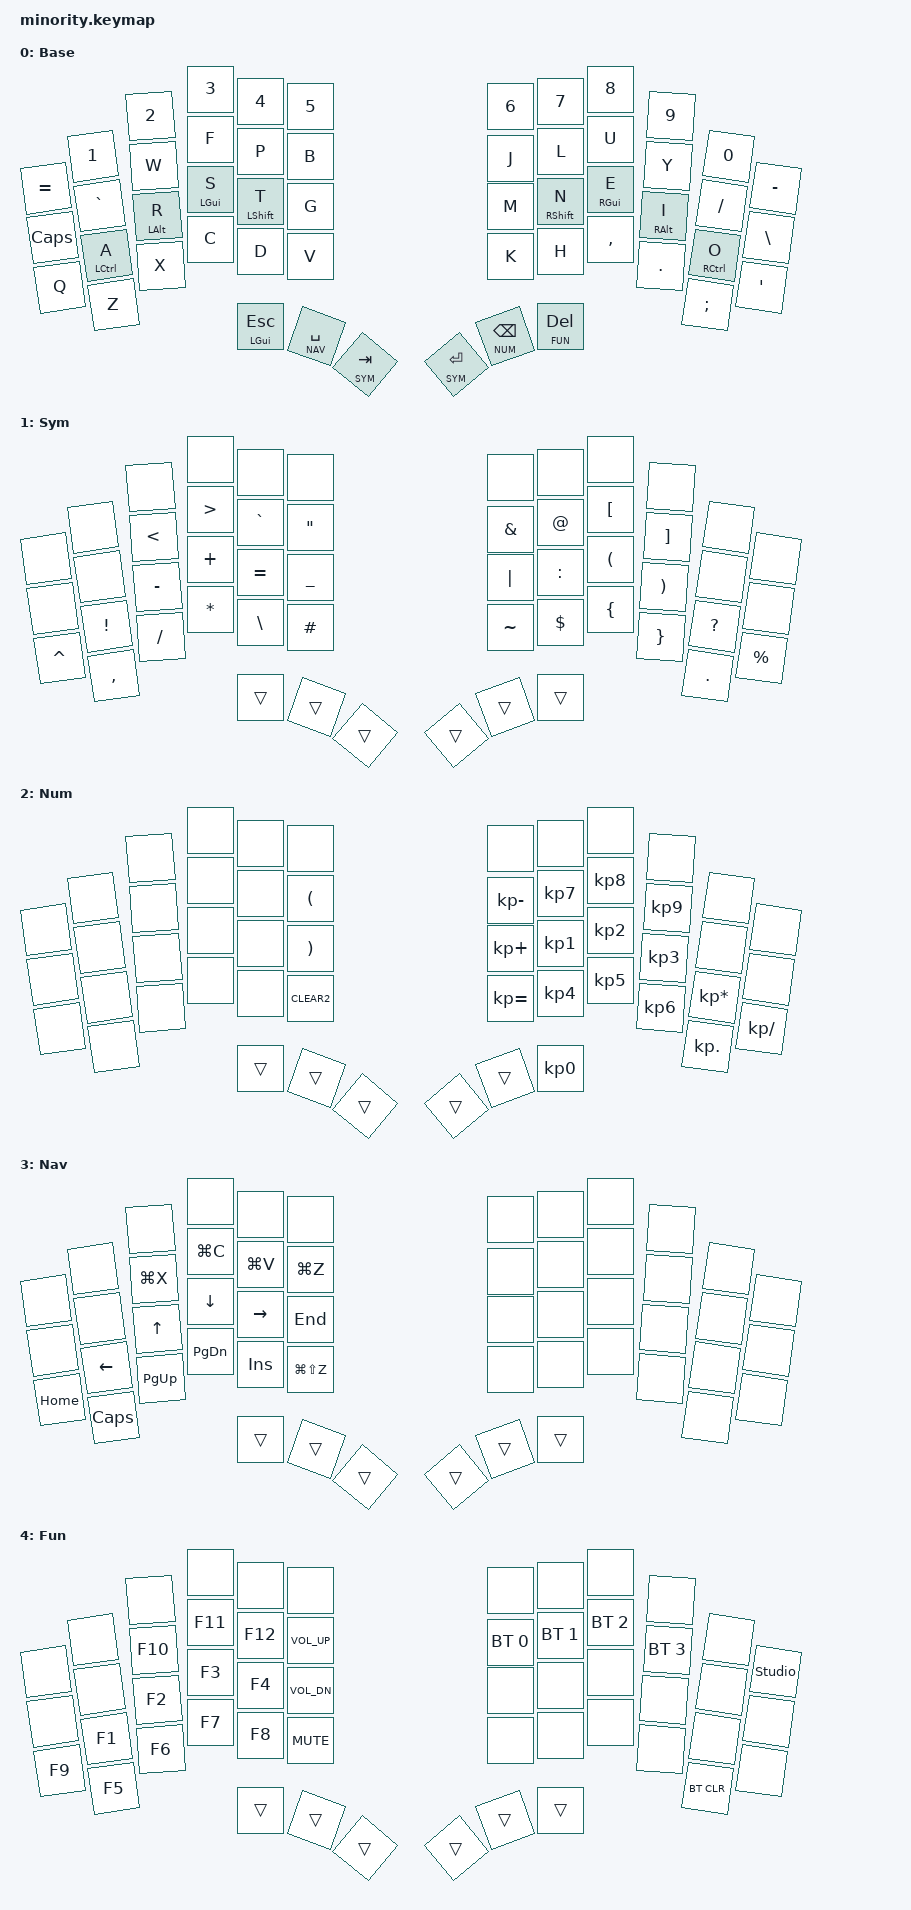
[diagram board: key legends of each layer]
// The Minority Keyboard
//

#include <behaviors.dtsi>
#include <dt-bindings/zmk/keys.h>
#include <dt-bindings/zmk/bt.h>
#include <dt-bindings/zmk/outputs.h>
#include <dt-bindings/zmk/mouse.h>

#define BASE 0
#define SYM  1
#define NUM  2
#define NAV  3
#define FUN  4

&mt {
  quick-tap-ms = <150>;
  flavor = "tap-preferred";
  tapping-term-ms = <200>;
};


&lt {
  quick-tap-ms = <150>;
  flavor = "tap-preferred";
  tapping-term-ms = <200>;
};

/ {
    combos {
        compatible = "zmk,combos";
        combo_esc {
            timeout-ms = <50>;
            key-positions = <0 1>;
            bindings = <&kp ESC>;
        };
    };

    keymap {
        compatible = "zmk,keymap";

        base_layer {
//////////////////////////////////////////////
            display-name = "Base";
//////////////////////////////////////////////
            bindings = <
// +-------------+-------------+-------------+-------------+-------------+-------------+                               +-------------+-------------+-------------+-------------+-------------+-------------+
    &kp EQUAL     &kp N1        &kp N2        &kp N3        &kp N4        &kp N5                                        &kp N6        &kp N7        &kp N8        &kp N9        &kp N0        &kp MINUS
// +-------------+-------------+-------------+-------------+-------------+-------------+                               +-------------+-------------+-------------+-------------+-------------+-------------+
    &kp CAPS      &kp GRAVE     &kp W         &kp F         &kp P         &kp B                                         &kp J         &kp L         &kp U         &kp Y         &kp FSLH      &kp BSLH
// +-------------+-------------+-------------+-------------+-------------+-------------+                               +-------------+-------------+-------------+-------------+-------------+-------------+
    &kp Q         &mt LCTRL A   &mt LALT R    &mt LGUI S    &mt LSHFT T   &kp G                                         &kp M         &mt RSHFT N   &mt RGUI E    &mt RALT I    &mt RCTRL O   &kp APOS
// +-------------+-------------+-------------+-------------+-------------+-------------+                               +-------------+-------------+-------------+-------------+-------------+-------------+
                  &kp Z         &kp X         &kp C         &kp D         &kp V                                         &kp K         &kp H         &kp COMMA     &kp DOT       &kp SEMI
//               +-------------+-------------+-------------+-------------+-------------+-------------+---+-------------+-------------+-------------+-------------+-------------+-------------+
                                                            &mt LGUI ESC  &lt NAV SPC   &lt SYM TAB       &lt SYM RET   &lt NUM BSPC  &lt FUN DEL
//                                                         |     ESC     |     SPC     |     TAB     |   |    ENTER    |    BSPC     |     DEL     |
//                                                         +-------------+-------------+-------------+---+-------------+-------------+-------------+
            >;
        };

        symbol_layer {
//////////////////////////////////////////////
            display-name = "Sym";
//////////////////////////////////////////////
            bindings = <
// +-------------+-------------+-------------+-------------+-------------+-------------+                               +-------------+-------------+-------------+-------------+-------------+-------------+
    &none         &none         &none         &none         &none         &none                                         &none         &none         &none         &none         &none         &none 
// +-------------+-------------+-------------+-------------+-------------+-------------+                               +-------------+-------------+-------------+-------------+-------------+-------------+
    &none         &none         &kp LT        &kp GT        &kp GRAVE     &kp DQT                                       &kp AMPS      &kp AT        &kp LBKT      &kp RBKT      &none         &none 
// +-------------+-------------+-------------+-------------+-------------+-------------+                               +-------------+-------------+-------------+-------------+-------------+-------------+
    &kp CARET     &kp EXCL      &kp MINUS     &kp PLUS      &kp EQUAL     &kp UNDER                                     &kp PIPE      &kp COLON     &kp LPAR      &kp RPAR      &kp QMARK     &kp PERCENT
// +-------------+-------------+-------------+-------------+-------------+-------------+                               +-------------+-------------+-------------+-------------+-------------+-------------+
                  &kp COMMA     &kp FSLH      &kp ASTRK     &kp BSLH      &kp HASH                                      &kp TILDE     &kp DOLLAR    &kp LBRC      &kp RBRC      &kp DOT
//               +-------------+-------------+-------------+-------------+-------------+-------------+---+-------------+-------------+-------------+-------------+-------------+-------------+
                                                            &trans        &trans        &trans            &trans        &trans        &trans
//                                                         |     ESC     |     SPC     |     TAB     |   |    ENTER    |    BSPC     |     DEL     |
//                                                         +-------------+-------------+-------------+---+-------------+-------------+-------------+
            >;
        };

        num_layer {
//////////////////////////////////////////////
            display-name = "Num";
//////////////////////////////////////////////
            bindings = <
// +-------------+-------------+-------------+-------------+-------------+-------------+                               +-------------+-------------+-------------+-------------+-------------+-------------+
    &none         &none         &none         &none         &none         &none                                         &none         &none         &none         &none         &none           &none 
// +-------------+-------------+-------------+-------------+-------------+-------------+                               +-------------+-------------+-------------+-------------+-------------+-------------+
    &none         &none         &none         &none         &none         &kp LPAR                                      &kp KP_MINUS  &kp KP_N7     &kp KP_N8     &kp KP_N9     &none           &none 
// +-------------+-------------+-------------+-------------+-------------+-------------+                               +-------------+-------------+-------------+-------------+-------------+-------------+
    &none         &none         &none         &none         &none         &kp RPAR                                      &kp KP_PLUS   &kp KP_N1     &kp KP_N2     &kp KP_N3     &kp KP_MULTIPLY &kp KP_DIVIDE
// +-------------+-------------+-------------+-------------+-------------+-------------+                               +-------------+-------------+-------------+-------------+-------------+-------------+
                  &none         &none         &none         &none         &kp CLEAR2                                    &kp KP_EQUAL  &kp KP_N4     &kp KP_N5     &kp KP_N6     &kp KP_DOT
//               +-------------+-------------+-------------+-------------+-------------+-------------+---+-------------+-------------+-------------+-------------+-------------+-------------+
                                                            &trans        &trans        &trans            &trans        &trans        &kp KP_N0
//                                                         |     ESC     |     SPC     |     TAB     |   |    ENTER    |    BSPC     |     DEL     |
//                                                         +-------------+-------------+-------------+---+-------------+-------------+-------------+
            >;
        };

        nav_layer {
//////////////////////////////////////////////
            display-name = "Nav";
//////////////////////////////////////////////
            bindings = <
// +-------------+-------------+-------------+-------------+-------------+-------------+                               +-------------+-------------+-------------+-------------+-------------+-------------+
    &none         &none         &none         &none         &none         &none                                         &none         &none         &none         &none         &none         &none 
// +-------------+-------------+-------------+-------------+-------------+-------------+                               +-------------+-------------+-------------+-------------+-------------+-------------+
    &none         &none         &kp LG(X)     &kp LG(C)     &kp LG(V)     &kp LG(Z)                                     &none         &none         &none         &none         &none         &none 
// +-------------+-------------+-------------+-------------+-------------+-------------+                               +-------------+-------------+-------------+-------------+-------------+-------------+
    &kp HOME      &kp LEFT      &kp UP        &kp DOWN      &kp RIGHT     &kp END                                       &none         &none         &none         &none         &none         &none 
// +-------------+-------------+-------------+-------------+-------------+-------------+                               +-------------+-------------+-------------+-------------+-------------+-------------+
                  &kp CAPS      &kp PAGE_UP   &kp PAGE_DOWN &kp INSERT    &kp LG(LS(Z))                                 &none         &none         &none         &none         &none 
//               +-------------+-------------+-------------+-------------+-------------+-------------+---+-------------+-------------+-------------+-------------+-------------+-------------+
                                                            &trans        &trans            &trans        &trans        &trans        &trans
//                                                         |     ESC     |     SPC     |     TAB     |   |    ENTER    |    BSPC     |     DEL     |
//                                                         +-------------+-------------+-------------+---+-------------+=============+-------------+
            >;
        };

        func_layer {
//////////////////////////////////////////////
            display-name= "Fun";
//////////////////////////////////////////////
            bindings = <
// +-------------+-------------+-------------+-------------+-------------+-------------+                               +-------------+-------------+-------------+-------------+-------------+-------------+
    &none         &none         &none         &none         &none         &none                                         &none         &none         &none         &none         &none         &studio_unlock
// +-------------+-------------+-------------+-------------+-------------+-------------+                               +-------------+-------------+-------------+-------------+-------------+-------------+
    &none         &none         &kp F10       &kp F11       &kp F12       &kp C_VOL_UP                                  &bt BT_SEL 0  &bt BT_SEL 1  &bt BT_SEL 2  &bt BT_SEL 3  &none         &none 
// +-------------+-------------+-------------+-------------+-------------+-------------+                               +-------------+-------------+-------------+-------------+-------------+-------------+
    &kp F9        &kp F1        &kp F2        &kp F3        &kp F4        &kp C_VOL_DN                                  &none         &none         &none         &none         &none         &none 
// +-------------+-------------+-------------+-------------+-------------+-------------+                               +-------------+-------------+-------------+-------------+-------------+-------------+
                  &kp F5        &kp F6        &kp F7        &kp F8        &kp C_MUTE                                    &none         &none         &none         &none         &bt BT_CLR
//               +-------------+-------------+-------------+-------------+-------------+-------------+---+-------------+-------------+-------------+-------------+-------------+-------------+
                                                            &trans        &trans        &trans            &trans        &trans        &trans
//                                                         |     ESC     |     SPC     |     TAB     |   |    ENTER    |    BSPC     |     DEL     |
//                                                         +-------------+-------------+-------------+---+-------------+-------------+=============+
            >;
        };
        extra1 {
            status = "reserved";
        };

        extra2 {
            status = "reserved";
        };
    };
};
